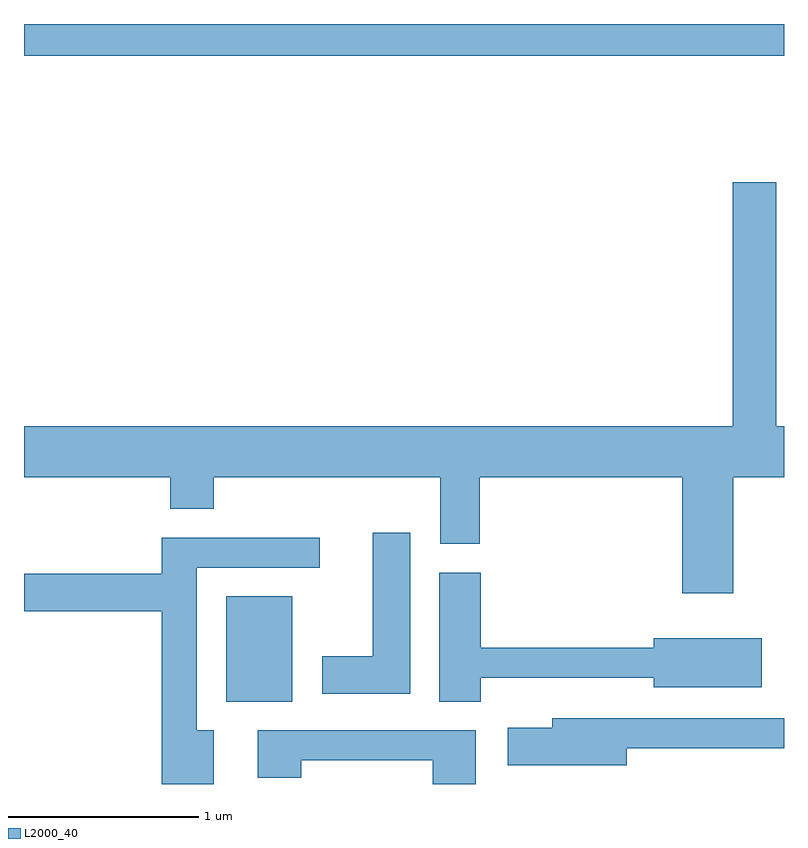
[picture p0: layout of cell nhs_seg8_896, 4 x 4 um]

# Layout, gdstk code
import gdstk
lib = gdstk.Library(unit=1e-6, precision=1e-09)
def R(c, l, rs):  # rectangles x0, y0, x1, y1
    for r in rs: c.add(gdstk.rectangle(r[:2], r[2:], *l))
def P(c, l, *ps):  # polygons
    for p in ps: c.add(gdstk.Polygon(p, *l))
L2000_40 = (2000, 40)

nhs_seg8_896 = lib.new_cell('nhs_seg8_896')
R(nhs_seg8_896, L2000_40, [(212.676,1850.776,213.024,1851.329), (211.611,1854.176,215.611,1854.342)])
P(nhs_seg8_896, L2000_40, [(215.344,1851.956),(215.611,1851.956),(215.611,1852.224),(215.569,1852.224),(215.569,1853.509),(215.341,1853.509),(215.341,1852.224),(211.611,1852.224),(211.611,1851.956),(212.381,1851.956),(212.381,1851.791),(212.609,1851.791),(212.609,1851.956),(213.801,1851.956),(213.801,1851.606),(214.009,1851.606),(214.009,1851.956),(215.076,1851.956),(215.076,1851.346),(215.344,1851.346)],
  [(213.644,1851.664),(213.446,1851.664),(213.446,1851.014),(213.181,1851.014),(213.181,1850.816),(213.644,1850.816)],
  [(212.609,1850.624),(212.519,1850.624),(212.519,1851.481),(213.168,1851.481),(213.168,1851.639),(212.336,1851.639),(212.336,1851.449),(211.611,1851.449),(211.611,1851.251),(212.336,1851.251),(212.336,1850.342),(212.609,1850.342)],
  [(214.014,1850.901),(214.926,1850.901),(214.926,1850.851),(215.494,1850.851),(215.494,1851.109),(214.926,1851.109),(214.926,1851.059),(214.014,1851.059),(214.014,1851.454),(213.796,1851.454),(213.796,1850.776),(214.014,1850.776)],
  [(214.784,1850.531),(215.611,1850.531),(215.611,1850.689),(214.391,1850.689),(214.391,1850.639),(214.156,1850.639),(214.156,1850.441),(214.784,1850.441)],
  [(213.989,1850.624),(212.841,1850.624),(212.841,1850.376),(213.069,1850.376),(213.069,1850.466),(213.761,1850.466),(213.761,1850.342),(213.989,1850.342)])

lib.write_gds('nhs_seg8_896.gds')
